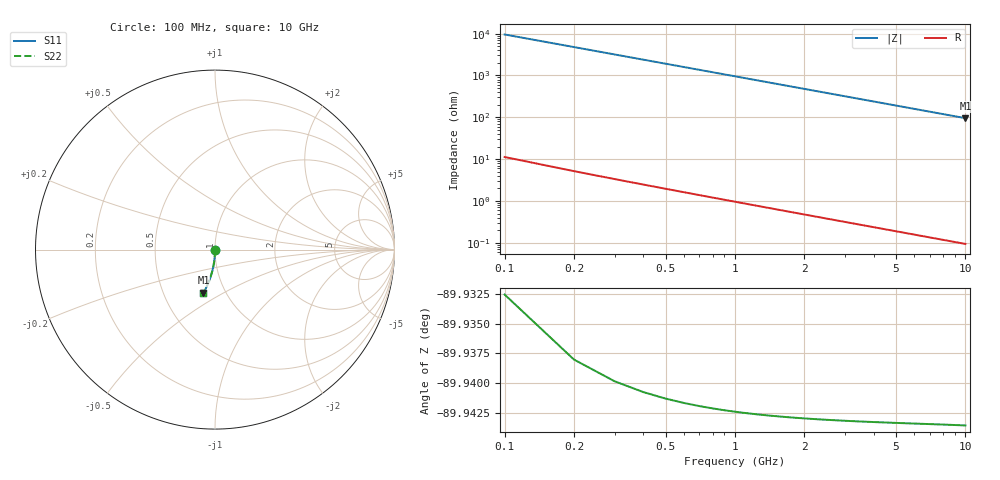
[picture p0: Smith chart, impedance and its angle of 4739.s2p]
# Hz S RI R 50.00
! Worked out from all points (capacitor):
!   100 points, 100 MHz to 10 GHz, reference 50 ohm
!   read as one part in shunt: C = 167 fF near 100 MHz
!   lowest |Z| = 95.3 ohm at 10 GHz (marker M1)
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1e8  1.07e-05 -0.00257  1 -0.00267  1 -0.00267  1.07e-05 -0.00257
2e8  -1.23e-05 -0.00515  0.9999 -0.00533  0.9999 -0.00533  -1.23e-05 -0.00515
3e8  -4.91e-05 -0.00772  0.9999 -0.008  0.9999 -0.008  -4.91e-05 -0.00772
4e8  -9.97e-05 -0.0103  0.9999 -0.0107  0.9999 -0.0107  -9.97e-05 -0.0103
5e8  -0.000164 -0.0129  0.9998 -0.0133  0.9998 -0.0133  -0.000164 -0.0129
6e8  -0.000242 -0.0154  0.9997 -0.016  0.9997 -0.016  -0.000242 -0.0154
7e8  -0.000334 -0.018  0.9996 -0.0187  0.9996 -0.0187  -0.000334 -0.018
8e8  -0.000439 -0.0206  0.9995 -0.0213  0.9995 -0.0213  -0.000439 -0.0206
9e8  -0.000558 -0.0232  0.9994 -0.024  0.9994 -0.024  -0.000558 -0.0232
1.1e9  -0.000838 -0.0283  0.9991 -0.0293  0.9991 -0.0293  -0.000838 -0.0283
1.4e9  -0.00136 -0.036  0.9986 -0.0373  0.9986 -0.0373  -0.00136 -0.036
1.8e9  -0.00225 -0.0462  0.9977 -0.0479  0.9977 -0.0479  -0.00225 -0.0462
2.1e9  -0.00305 -0.0539  0.9969 -0.0558  0.9969 -0.0558  -0.00305 -0.0539
2.5e9  -0.00432 -0.0641  0.9956 -0.0664  0.9956 -0.0664  -0.00432 -0.0641
2.9e9  -0.0058 -0.0742  0.9942 -0.0769  0.9942 -0.0769  -0.0058 -0.0742
3.4e9  -0.00795 -0.0869  0.992 -0.09  0.992 -0.09  -0.00795 -0.0869
4.2e9  -0.0121 -0.1069  0.9879 -0.1107  0.9879 -0.1107  -0.0121 -0.1069
5.1e9  -0.0177 -0.129  0.9823 -0.1337  0.9823 -0.1337  -0.0177 -0.129
5.9e9  -0.0235 -0.1484  0.9764 -0.1538  0.9764 -0.1538  -0.0235 -0.1484
6.7e9  -0.0301 -0.1674  0.9698 -0.1736  0.9698 -0.1736  -0.0301 -0.1674
8.4e9  -0.0465 -0.2063  0.9534 -0.2141  0.9534 -0.2141  -0.0465 -0.2063
1e10  -0.0647 -0.2408  0.9353 -0.2502  0.9353 -0.2502  -0.0647 -0.2408
